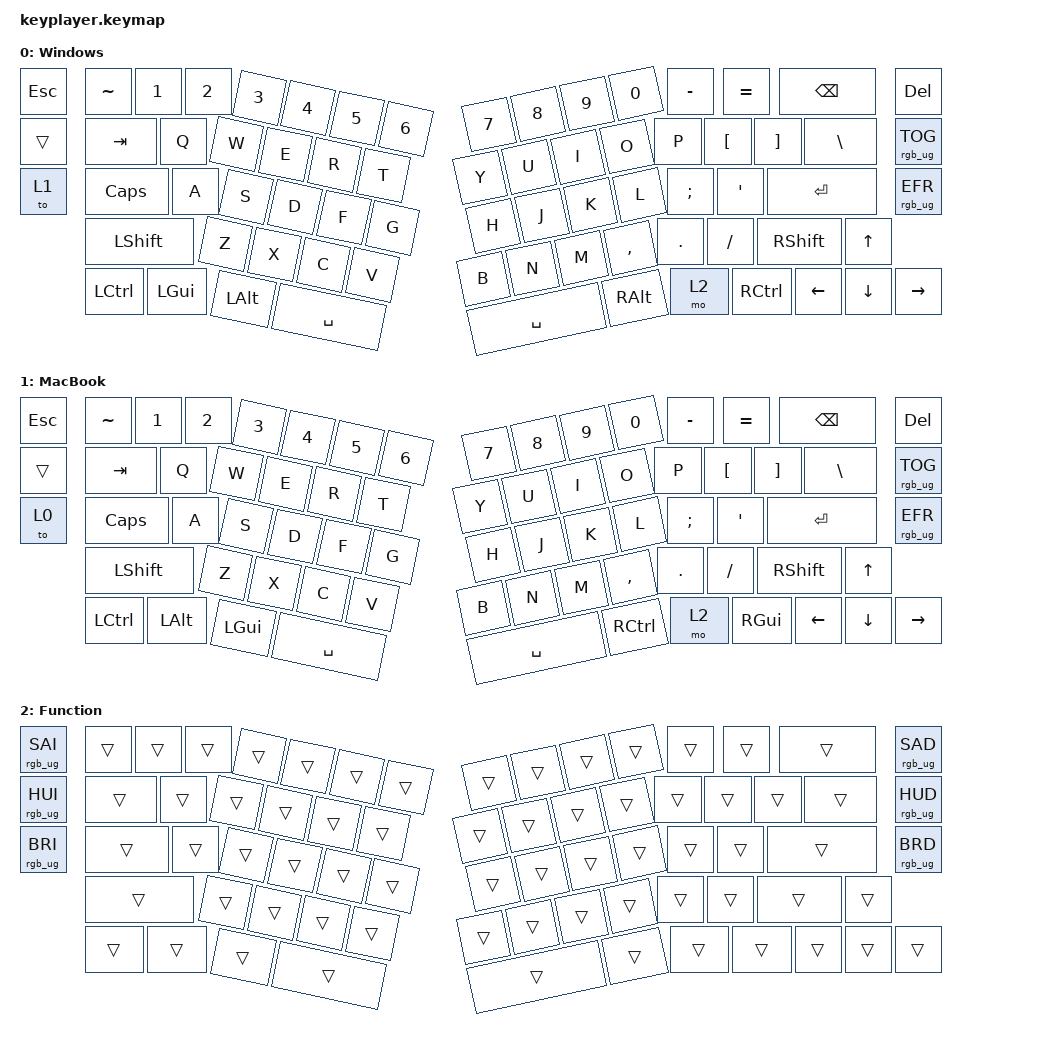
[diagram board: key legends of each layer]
#include <behaviors.dtsi>
#include <dt-bindings/zmk/bt.h>
#include <dt-bindings/zmk/keys.h>
#include <dt-bindings/zmk/rgb.h>

/ {
    keymap0: keymap {
        compatible = "zmk,keymap";

        default_layer {
            display-name = "Windows";
            bindings = < 
          &kp ESC   &kp TILDE      &kp N1    &kp N2    &kp N3   &kp N4    &kp N5    &kp N6     &kp N7    &kp N8    &kp N9   &kp N0     &kp MINUS   &kp EQUAL            &kp BSPC             &kp DEL
          &trans    &kp TAB        &kp Q               &kp W    &kp E     &kp R     &kp T      &kp Y     &kp U     &kp I    &kp O      &kp P       &kp LBKT  &kp RBKT   &kp BSLH             &rgb_ug RGB_TOG
          &to 1     &kp CAPSLOCK   &kp A               &kp S    &kp D     &kp F     &kp G      &kp H     &kp J     &kp K    &kp L      &kp SEMI    &kp SQT              &kp ENTER            &rgb_ug RGB_EFR
                    &kp LSHFT                          &kp Z    &kp X     &kp C     &kp V      &kp B     &kp N     &kp M    &kp COMMA  &kp DOT     &kp FSLH             &kp RSHFT  &kp UP 
                    &kp LCTRL                &kp LGUI           &kp LALT            &kp SPACE            &kp SPACE          &kp RALT   &mo 2                 &kp RCTRL  &kp LEFT   &kp DOWN  &kp RIGHT
            >; 
        };

        fn_layer {
            display-name = "MacBook";
            bindings = <
          &kp ESC   &kp TILDE      &kp N1    &kp N2    &kp N3   &kp N4    &kp N5    &kp N6     &kp N7    &kp N8    &kp N9   &kp N0     &kp MINUS   &kp EQUAL            &kp BSPC             &kp DEL
          &trans    &kp TAB        &kp Q               &kp W    &kp E     &kp R     &kp T      &kp Y     &kp U     &kp I    &kp O      &kp P       &kp LBKT  &kp RBKT   &kp BSLH             &rgb_ug RGB_TOG
          &to 0     &kp CAPSLOCK   &kp A               &kp S    &kp D     &kp F     &kp G      &kp H     &kp J     &kp K    &kp L      &kp SEMI    &kp SQT              &kp ENTER            &rgb_ug RGB_EFR
                    &kp LSHFT                          &kp Z    &kp X     &kp C     &kp V      &kp B     &kp N     &kp M    &kp COMMA  &kp DOT     &kp FSLH             &kp RSHFT  &kp UP 
                    &kp LCTRL                &kp LALT           &kp LGUI            &kp SPACE            &kp SPACE          &kp RCTRL  &mo 2                 &kp RGUI   &kp LEFT   &kp DOWN  &kp RIGHT
            >;
        };

        tri_layer {
            display-name = "Function";
            bindings = <
          &rgb_ug RGB_SAI   &trans   &trans  &trans  &trans   &trans   &trans   &trans   &trans  &trans   &trans   &trans   &trans   &trans            &trans          &rgb_ug RGB_SAD
          &rgb_ug RGB_HUI   &trans   &trans          &trans   &trans   &trans   &trans   &trans  &trans   &trans   &trans   &trans   &trans   &trans   &trans          &rgb_ug RGB_HUD
          &rgb_ug RGB_BRI   &trans   &trans          &trans   &trans   &trans   &trans   &trans  &trans   &trans   &trans   &trans   &trans            &trans          &rgb_ug RGB_BRD
                            &trans                   &trans   &trans   &trans   &trans   &trans  &trans   &trans   &trans   &trans   &trans            &trans  &trans 
                            &trans           &trans           &trans            &trans           &trans            &trans   &trans            &trans   &trans  &trans  &trans
            >;
        };
    };
};
